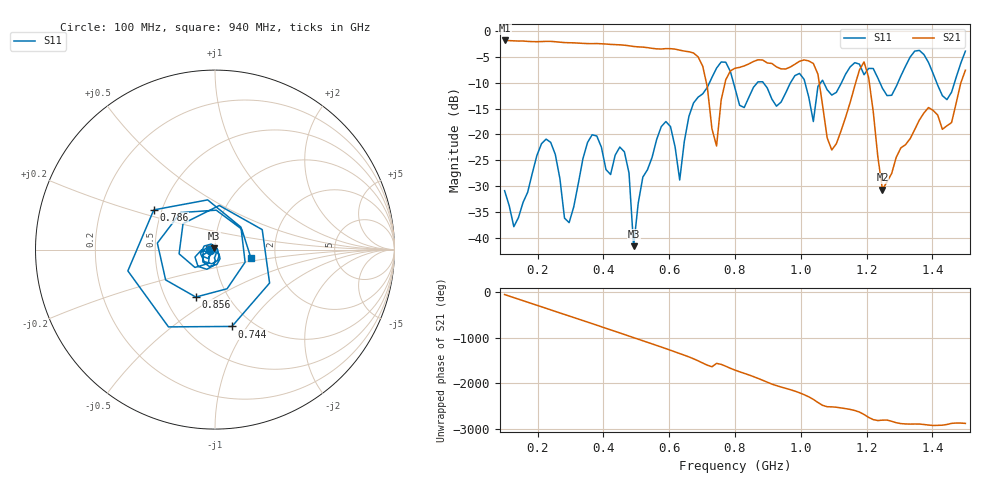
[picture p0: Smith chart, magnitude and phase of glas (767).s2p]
! NanoVNA-App
! Date: 2025-09-25 16:01:27
! Start: 100MHz Stop: 1,5GHz Points: 101
! S-Parameter data: F S11 S21 S12 S22
# Hz S RI R 50
!  Frequency  S11_Real  S11_Imag  S21_Real  S21_Imag  S12_Real  S12_Imag  S22_Real  S22_Imag
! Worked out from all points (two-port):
!   101 points, 100 MHz to 1.5 GHz, reference 50 ohm
!   highest |S21| = -1.80 dB at 100 MHz (marker M1); lowest = -30.7 dB at 1.248 GHz (marker M2)
!   |S21| within 3 dB of the highest: start of sweep to 684.4 MHz
!   lowest |S11| = -41.7 dB at 492 MHz (marker M3), VSWR 1.02, Z = 49.5 + j0.643 ohm
!   |S11| at or under -10 dB: start of sweep to 722.4 MHz; 795.4 MHz to 867.7 MHz (72.26 MHz wide, 8.69 % of centre); 886.2 MHz to 968.6 MHz (82.32 MHz wide, 8.88 % of centre) (the widest 3 of 7)
!   S12 and S22 are empty: the file has one direction only
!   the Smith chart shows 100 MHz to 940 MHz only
!   S11 on the Smith chart (normalised r, x): 100 MHz: 0.94, -0.01; 744 MHz: 0.81, -0.85; 786 MHz: 0.45, +0.24; 856 MHz: 0.71, -0.41; 940 MHz: 1.49, -0.14
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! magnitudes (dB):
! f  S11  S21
! 100 MHz  -30.9  -1.8
! 128 MHz  -37.9  -1.9
! 226 MHz  -20.9  -2.0
! 296 MHz  -37.1  -2.2
! 338 MHz  -24.7  -2.4
! 464 MHz  -23.4  -2.7
! 492 MHz  -41.7  -3.0
! 576 MHz  -18.5  -3.5
! 632 MHz  -28.8  -3.7
! 702 MHz  -12.1  -6.8
! 744 MHz  -7.2  -22.3
! 786 MHz  -7.8  -7.7
! 800 MHz  -11.1  -7.2
! 856 MHz  -10.9  -5.9
! 940 MHz  -13.7  -7.3
! 996 MHz  -8.2  -5.8
! 1.038 GHz  -17.5  -6.3
! 1.094 GHz  -12.4  -23.0
! 1.192 GHz  -8.4  -6.0
! 1.248 GHz  -11.1  -30.7
! 1.276 GHz  -12.4  -27.6
! 1.5 GHz  -3.9  -7.6
